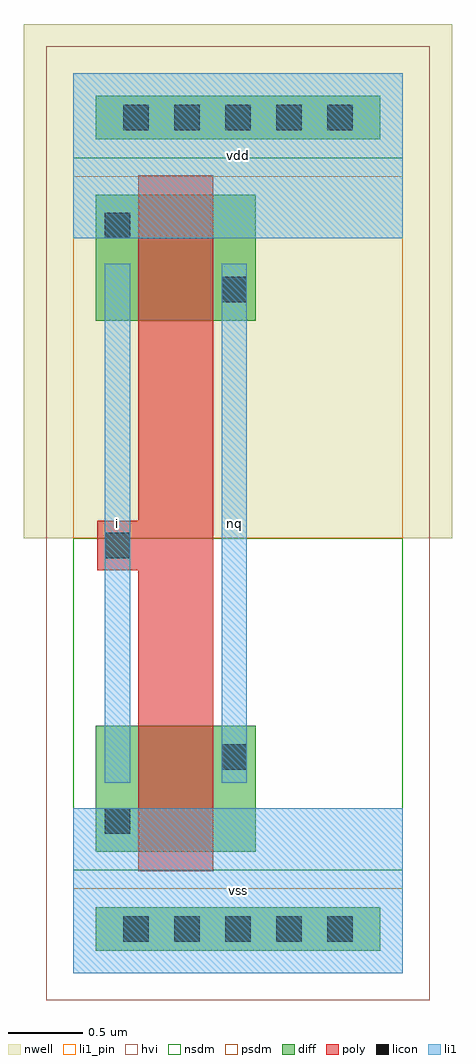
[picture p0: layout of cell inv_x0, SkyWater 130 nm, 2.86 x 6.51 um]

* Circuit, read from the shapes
.subckt inv_x0 i nq vdd vss
XM1 nq i vss VSUBS sky130_fd_pr__nfet_g5v0d10v5 w=0.84 l=0.5
XM2 nq i vdd n1 sky130_fd_pr__pfet_g5v0d10v5 w=0.84 l=0.5
.ends

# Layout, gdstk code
import gdstk
lib = gdstk.Library(unit=1e-6, precision=1e-09)
def R(c, l, rs):  # rectangles x0, y0, x1, y1
    for r in rs: c.add(gdstk.rectangle(r[:2], r[2:], *l))
def A(c, l, x, y, w, h, nx, ny, dx, dy):  # array of equal rectangles
    R(c, l, [(x+i*dx, y+j*dy, x+i*dx+w, y+j*dy+h) for i in range(nx) for j in range(ny)])
def P(c, l, *ps):  # polygons
    for p in ps: c.add(gdstk.Polygon(p, *l))
nwell = (64, 20)
diff = (65, 20)
poly = (66, 20)
licon = (66, 44)
li1_pin = (67, 16)
li1 = (67, 20)
hvi = (75, 20)
nsdm = (93, 44)
psdm = (94, 20)

inv_x0 = lib.new_cell('inv_x0')
R(inv_x0, nwell, [(-0.33,2.9,2.53,6.33)])
R(inv_x0, diff, [(0.15,0.15,2.05,0.44), (0.15,0.81,1.22,1.65), (0.15,4.35,1.22,5.19), (0.15,5.56,2.05,5.85)])
P(inv_x0, poly, [(0.435,0.68),(0.435,2.685),(0.16,2.685),(0.16,3.015),(0.435,3.015),(0.435,5.32),(0.935,5.32),(0.935,0.68)])
A(inv_x0, licon, 0.335, 0.21, 0.17, 0.17, 5, 2, 0.34, 5.41)
R(inv_x0, licon, [(0.21,0.93,0.38,1.1), (0.99,1.355,1.16,1.525), (0.21,2.765,0.38,2.935), (0.99,4.475,1.16,4.645), (0.21,4.9,0.38,5.07)])
R(inv_x0, li1_pin, [(0,0,2.2,1.1), (0.21,1.27,0.38,4.73), (0.99,1.27,1.16,4.73), (0,4.9,2.2,6)])
R(inv_x0, li1, [(0,0,2.2,1.1), (0.21,1.27,0.38,4.73), (0.99,1.27,1.16,4.73), (0,4.9,2.2,6)])
R(inv_x0, hvi, [(-0.18,-0.18,2.38,6.18)])
R(inv_x0, nsdm, [(0,0.685,2.2,2.9), (0,5.435,2.2,6)])
R(inv_x0, psdm, [(0,0,2.2,0.565), (0,2.9,2.2,5.315)])
inv_x0.add(gdstk.Label('vss', (1.1,0.55), layer=67, texttype=16))
inv_x0.add(gdstk.Label('vdd', (1.1,5.45), layer=67, texttype=16))
inv_x0.add(gdstk.Label('nq', (1.075,3), layer=67, texttype=16))
inv_x0.add(gdstk.Label('i', (0.295,3), layer=67, texttype=16))

lib.write_gds('inv_x0.gds')
